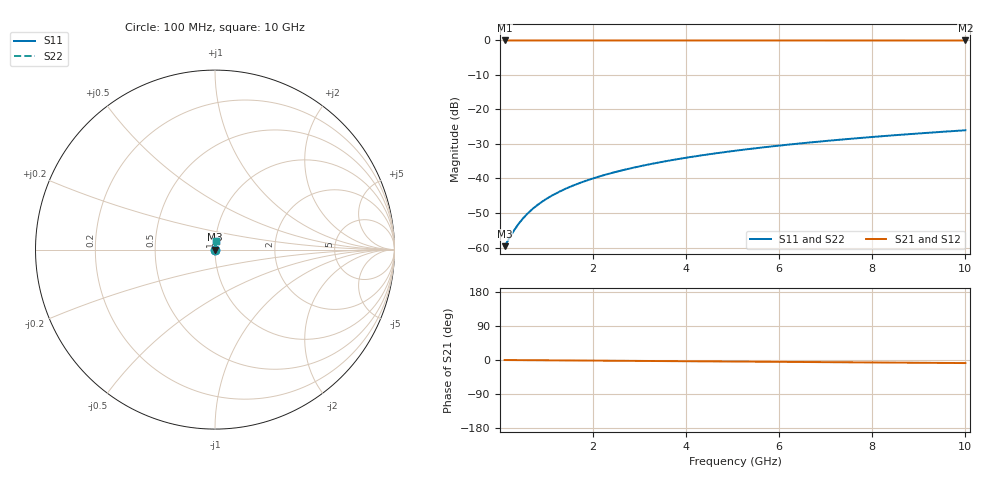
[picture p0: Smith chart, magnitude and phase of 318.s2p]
# Hz S RI R 50.00
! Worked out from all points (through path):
!   100 points, 100 MHz to 10 GHz, reference 50 ohm
!   highest |S21| = -0.01 dB at 100 MHz (marker M1); lowest = 0.0 dB at 10 GHz (marker M2)
!   group delay of S21, straight-line fit = 2.25 ps
!   lowest |S11| = -59.6 dB at 100 MHz (marker M3), VSWR 1.00, Z = 50.1 + j0.0498 ohm
!   |S11| at or under -10 dB: start of sweep to end of sweep
!   |S22| runs from -59.6 to -26.0 dB; largest |S21 - S12| = 0
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1e8  0.000919 0.000497  0.9991 -0.00141  0.9991 -0.00141  0.000919 0.000497
3e8  0.000935 0.00149  0.9991 -0.00422  0.9991 -0.00422  0.000935 0.00149
4e8  0.000943 0.00199  0.999 -0.00563  0.999 -0.00563  0.000943 0.00199
5e8  0.000952 0.00249  0.999 -0.00704  0.999 -0.00704  0.000952 0.00249
6e8  0.000962 0.00298  0.999 -0.00845  0.999 -0.00845  0.000962 0.00298
7e8  0.000973 0.00348  0.999 -0.00986  0.999 -0.00986  0.000973 0.00348
8e8  0.000986 0.00398  0.999 -0.0113  0.999 -0.0113  0.000986 0.00398
9e8  0.001 0.00448  0.999 -0.0127  0.999 -0.0127  0.001 0.00448
1e9  0.00101 0.00497  0.9989 -0.0141  0.9989 -0.0141  0.00101 0.00497
1.2e9  0.00105 0.00597  0.9989 -0.0169  0.9989 -0.0169  0.00105 0.00597
1.5e9  0.00111 0.00746  0.9988 -0.0211  0.9988 -0.0211  0.00111 0.00746
1.8e9  0.00118 0.00895  0.9987 -0.0253  0.9987 -0.0253  0.00118 0.00895
2.1e9  0.00127 0.0104  0.9985 -0.0296  0.9985 -0.0296  0.00127 0.0104
2.5e9  0.0014 0.0124  0.9983 -0.0352  0.9983 -0.0352  0.0014 0.0124
2.9e9  0.00155 0.0144  0.9981 -0.0408  0.9981 -0.0408  0.00155 0.0144
3.4e9  0.00178 0.0169  0.9977 -0.0479  0.9977 -0.0479  0.00178 0.0169
4.2e9  0.00221 0.0208  0.997 -0.0592  0.997 -0.0592  0.00221 0.0208
5.1e9  0.0028 0.0253  0.9961 -0.0718  0.9961 -0.0718  0.0028 0.0253
5.9e9  0.00343 0.0292  0.9951 -0.0831  0.9951 -0.0831  0.00343 0.0292
6.7e9  0.00414 0.0332  0.9939 -0.0944  0.9939 -0.0944  0.00414 0.0332
8.4e9  0.00595 0.0415  0.991 -0.1183  0.991 -0.1183  0.00595 0.0415
1e10  0.00804 0.0493  0.9877 -0.1408  0.9877 -0.1408  0.00804 0.0493
